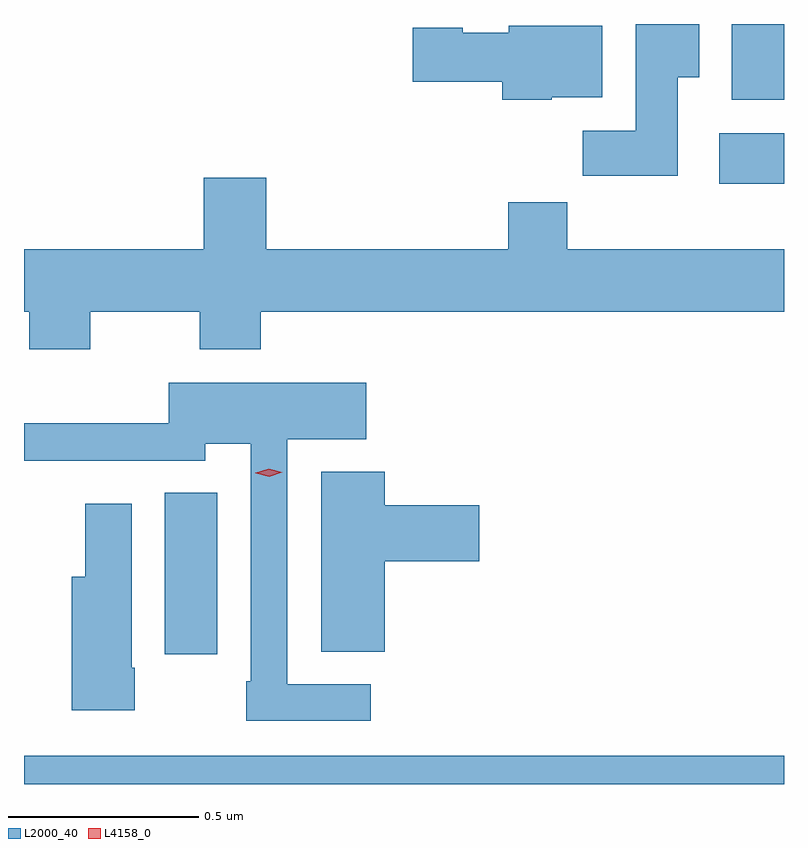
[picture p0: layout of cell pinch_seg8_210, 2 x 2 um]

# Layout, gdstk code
import gdstk
lib = gdstk.Library(unit=1e-6, precision=1e-09)
def R(c, l, rs):  # rectangles x0, y0, x1, y1
    for r in rs: c.add(gdstk.rectangle(r[:2], r[2:], *l))
def P(c, l, *ps):  # polygons
    for p in ps: c.add(gdstk.Polygon(p, *l))
L2000_40 = (2000, 40)
L4158_0 = (4158, 0)

pinch_seg8_210 = lib.new_cell('pinch_seg8_210')
R(pinch_seg8_210, L2000_40, [(632.067,1092.613,634.067,1092.688), (632.438,1092.954,632.575,1093.379), (633.897,1094.192,634.067,1094.326), (633.929,1094.414,634.067,1094.613)])
P(pinch_seg8_210, L2000_40, [(633.787,1094.473),(633.844,1094.473),(633.844,1094.613),(633.677,1094.613),(633.677,1094.332),(633.538,1094.332),(633.538,1094.214),(633.787,1094.214)],
  [(633.456,1094.42),(633.589,1094.42),(633.589,1094.608),(633.342,1094.608),(633.342,1094.59),(633.222,1094.59),(633.222,1094.603),(633.09,1094.603),(633.09,1094.461),(633.326,1094.461),(633.326,1094.414),(633.456,1094.414)],
  [(632.241,1093.856),(632.53,1093.856),(632.53,1093.757),(632.69,1093.757),(632.69,1093.856),(634.067,1093.856),(634.067,1094.02),(633.497,1094.02),(633.497,1094.144),(633.341,1094.144),(633.341,1094.02),(632.704,1094.02),(632.704,1094.209),(632.54,1094.209),(632.54,1094.02),(632.067,1094.02),(632.067,1093.856),(632.081,1093.856),(632.081,1093.757),(632.241,1093.757)],
  [(632.98,1092.876),(632.76,1092.876),(632.76,1093.52),(632.968,1093.52),(632.968,1093.669),(632.448,1093.669),(632.448,1093.562),(632.067,1093.562),(632.067,1093.464),(632.544,1093.464),(632.544,1093.508),(632.664,1093.508),(632.664,1092.883),(632.652,1092.883),(632.652,1092.78),(632.98,1092.78)],
  [(633.016,1093.199),(633.265,1093.199),(633.265,1093.346),(633.016,1093.346),(633.016,1093.435),(632.849,1093.435),(632.849,1092.961),(633.016,1092.961)],
  [(632.358,1092.919),(632.35,1092.919),(632.35,1093.351),(632.228,1093.351),(632.228,1093.159),(632.192,1093.159),(632.192,1092.807),(632.358,1092.807)])
P(pinch_seg8_210, L4158_0, [(632.712,1093.422),(632.677,1093.431),(632.676,1093.432),(632.677,1093.432),(632.711,1093.442),(632.746,1093.434),(632.746,1093.433),(632.746,1093.433)])

lib.write_gds('pinch_seg8_210.gds')
